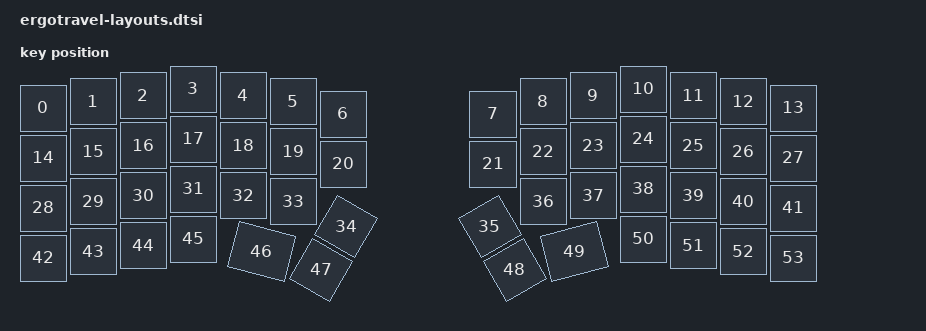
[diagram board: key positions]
#include <physical_layouts.dtsi>

/ {
    layout: layout {
        compatible = "zmk,physical-layout";
        display-name = "ErgoTravel";

        keys  //                     w   h    x    y     rot    rx    ry
            = <&key_physical_attrs 100 100    0   38       0     0     0>
            , <&key_physical_attrs 100 100  100   25       0     0     0>
            , <&key_physical_attrs 100 100  200   13       0     0     0>
            , <&key_physical_attrs 100 100  300    0       0     0     0>
            , <&key_physical_attrs 100 100  400   13       0     0     0>
            , <&key_physical_attrs 100 100  500   25       0     0     0>
            , <&key_physical_attrs 100 100  600   50       0     0     0>
            , <&key_physical_attrs 100 100  900   50       0     0     0>
            , <&key_physical_attrs 100 100 1000   25       0     0     0>
            , <&key_physical_attrs 100 100 1100   13       0     0     0>
            , <&key_physical_attrs 100 100 1200    0       0     0     0>
            , <&key_physical_attrs 100 100 1300   13       0     0     0>
            , <&key_physical_attrs 100 100 1400   25       0     0     0>
            , <&key_physical_attrs 100 100 1500   38       0     0     0>
            , <&key_physical_attrs 100 100    0  138       0     0     0>
            , <&key_physical_attrs 100 100  100  125       0     0     0>
            , <&key_physical_attrs 100 100  200  113       0     0     0>
            , <&key_physical_attrs 100 100  300  100       0     0     0>
            , <&key_physical_attrs 100 100  400  113       0     0     0>
            , <&key_physical_attrs 100 100  500  125       0     0     0>
            , <&key_physical_attrs 100 100  600  150       0     0     0>
            , <&key_physical_attrs 100 100  900  150       0     0     0>
            , <&key_physical_attrs 100 100 1000  125       0     0     0>
            , <&key_physical_attrs 100 100 1100  113       0     0     0>
            , <&key_physical_attrs 100 100 1200  100       0     0     0>
            , <&key_physical_attrs 100 100 1300  113       0     0     0>
            , <&key_physical_attrs 100 100 1400  125       0     0     0>
            , <&key_physical_attrs 100 100 1500  138       0     0     0>
            , <&key_physical_attrs 100 100    0  238       0     0     0>
            , <&key_physical_attrs 100 100  100  225       0     0     0>
            , <&key_physical_attrs 100 100  200  213       0     0     0>
            , <&key_physical_attrs 100 100  300  200       0     0     0>
            , <&key_physical_attrs 100 100  400  213       0     0     0>
            , <&key_physical_attrs 100 100  500  225       0     0     0>
            , <&key_physical_attrs 100 100  600  300    3000   700   350>
            , <&key_physical_attrs 100 100  900  300   33000   900   350>
            , <&key_physical_attrs 100 100 1000  225       0     0     0>
            , <&key_physical_attrs 100 100 1100  213       0     0     0>
            , <&key_physical_attrs 100 100 1200  200       0     0     0>
            , <&key_physical_attrs 100 100 1300  213       0     0     0>
            , <&key_physical_attrs 100 100 1400  225       0     0     0>
            , <&key_physical_attrs 100 100 1500  238       0     0     0>
            , <&key_physical_attrs 100 100    0  338       0     0     0>
            , <&key_physical_attrs 100 100  100  325       0     0     0>
            , <&key_physical_attrs 100 100  200  313       0     0     0>
            , <&key_physical_attrs 100 100  300  300       0     0     0>
            , <&key_physical_attrs 125 100  425  325    1500   487   375>
            , <&key_physical_attrs 100 100  600  400    3000   700   350>
            , <&key_physical_attrs 100 100  900  400   33000   900   350>
            , <&key_physical_attrs 125 100 1050  325   34500  1112   375>
            , <&key_physical_attrs 100 100 1200  300       0     0     0>
            , <&key_physical_attrs 100 100 1300  313       0     0     0>
            , <&key_physical_attrs 100 100 1400  325       0     0     0>
            , <&key_physical_attrs 100 100 1500  338       0     0     0>
            ;
    };

    position_map {
        compatible = "zmk,physical-layout-position-map";

        complete;

        layout {
            physical-layout = <&layout>;
            positions = <>;
        };
    };
};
